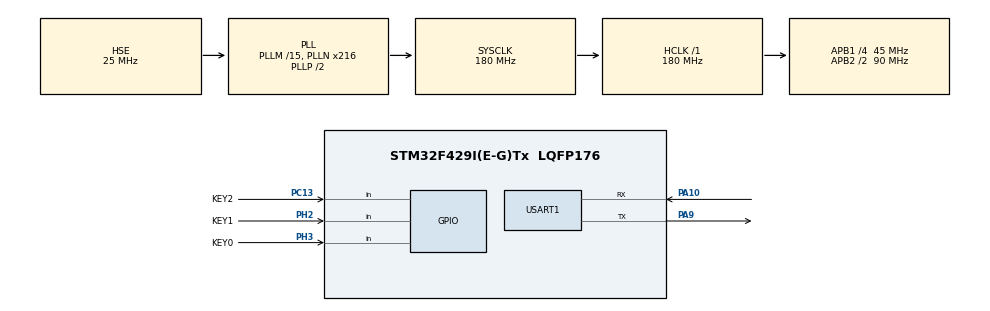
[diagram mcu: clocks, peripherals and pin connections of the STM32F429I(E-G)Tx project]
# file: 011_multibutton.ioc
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Mcu.Family=STM32F4
Mcu.Name=STM32F429I(E-G)Tx
Mcu.Package=LQFP176
NVIC.PriorityGroup=NVIC_PRIORITYGROUP_4
PA10.Mode=Asynchronous
PA10.Signal=USART1_RX
PA13.Mode=Serial_Wire
PA13.Signal=SYS_JTMS-SWDIO
PA14.Mode=Serial_Wire
PA14.Signal=SYS_JTCK-SWCLK
PA9.Mode=Asynchronous
PA9.Signal=USART1_TX
PC13.GPIO_Label=KEY2
PC13.Signal=GPIO_Input
PC14/OSC32_IN.Mode=LSE-External-Oscillator
PC14/OSC32_IN.Signal=RCC_OSC32_IN
PC15/OSC32_OUT.Mode=LSE-External-Oscillator
PC15/OSC32_OUT.Signal=RCC_OSC32_OUT
PH0/OSC_IN.Mode=HSE-External-Oscillator
PH0/OSC_IN.Signal=RCC_OSC_IN
PH1/OSC_OUT.Mode=HSE-External-Oscillator
PH1/OSC_OUT.Signal=RCC_OSC_OUT
PH2.GPIO_Label=KEY1
PH2.GPIO_PuPd=GPIO_PULLUP
PH2.Signal=GPIO_Input
PH3.GPIO_Label=KEY0
PH3.GPIO_PuPd=GPIO_PULLUP
PH3.Signal=GPIO_Input
ProjectManager.HeapSize=0x200
ProjectManager.StackSize=0x400
ProjectManager.TargetToolchain=MDK-ARM V5.27
RCC.48MHZClocksFreq_Value=90000000
RCC.AHBFreq_Value=180000000
RCC.APB1CLKDivider=RCC_HCLK_DIV4
RCC.APB1Freq_Value=45000000
RCC.APB1TimFreq_Value=90000000
RCC.APB2CLKDivider=RCC_HCLK_DIV2
RCC.APB2Freq_Value=90000000
RCC.APB2TimFreq_Value=180000000
RCC.CortexFreq_Value=180000000
RCC.HCLKFreq_Value=180000000
RCC.HSE_VALUE=25000000
RCC.HSI_VALUE=16000000
RCC.PLLM=15
RCC.PLLN=216
RCC.PLLSourceVirtual=RCC_PLLSOURCE_HSE
RCC.SYSCLKFreq_VALUE=180000000
RCC.SYSCLKSource=RCC_SYSCLKSOURCE_PLLCLK
RCC.VCOOutputFreq_Value=360000000
USART1.VirtualMode=VM_ASYNC
board=custom

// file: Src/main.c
/* USER CODE BEGIN Header */
/**
  ******************************************************************************
  * @file           : main.c
  * @brief          : Main program body
  ******************************************************************************
  * @attention
  *
  * <h2><center>&copy; Copyright (c) 2021 STMicroelectronics.
  * All rights reserved.</center></h2>
  *
  * This software component is licensed by ST under BSD 3-Clause license,
  * the "License"; You may not use this file except in compliance with the
  * License. You may obtain a copy of the License at:
  *                        opensource.org/licenses/BSD-3-Clause
  *
  ******************************************************************************
  */
/* USER CODE END Header */

#include "main.h"
#include "usart.h"
#include "gpio.h"

/* USER CODE BEGIN Includes */
#include "multi_button.h"
#include <stdio.h>		//要使用printf

/* USER CODE END Includes */

void SystemClock_Config(void);

/* USER CODE BEGIN 0 */

//申请一个按键结构
struct Button button1;

//按键状态读取接口
uint8_t read_button1_GPIO()
{
	return HAL_GPIO_ReadPin(KEY1_GPIO_Port, KEY1_Pin);
}

//按键回调函数
void button1_callback(void *button)
{
    uint32_t btn_event_val;

    btn_event_val = get_button_event((struct Button *)button);

    switch(btn_event_val)
    {
	    case PRESS_DOWN:
	        printf("---> key1 press down! <---\r\n");
	    	break;

	    case PRESS_UP:
	        printf("***> key1 press up! <***\r\n");
	    	break;

	    case PRESS_REPEAT:
	        printf("---> key1 press repeat! <---\r\n");
	    	break;

	    case SINGLE_CLICK:
	        printf("---> key1 single click! <---\r\n");
	    	break;

	    case DOUBLE_CLICK:
	        printf("***> key1 double click! <***\r\n");
	    	break;

	    case LONG_PRESS_START:
	        printf("---> key1 long press start! <---\r\n");
	   		break;

	    case LONG_PRESS_HOLD:
	        printf("***> key1 long press hold! <***\r\n");
	    	break;
	}
}

/* USER CODE END 0 */

int main(void)
{

  /* MCU Configuration--------------------------------------------------------*/

  /* Reset of all peripherals, Initializes the Flash interface and the Systick. */
  HAL_Init();

  /* Configure the system clock */
  SystemClock_Config();

  /* Initialize all configured peripherals */
  MX_GPIO_Init();
  MX_USART1_UART_Init();
  /* USER CODE BEGIN 2 */

	/* USER CODE BEGIN 2 */

	printf("MultiButton Test...\r\n");

	//初始化按键对象
	button_init(&button1, read_button1_GPIO, 0);

	//注册按钮事件回调函数

//	button_attach(&button1, PRESS_DOWN,       button1_callback);
//	button_attach(&button1, PRESS_UP,         button1_callback);
		button_attach(&button1, PRESS_REPEAT,     button1_callback);
	//button_attach(&button1, SINGLE_CLICK,     button1_callback);
	//button_attach(&button1, DOUBLE_CLICK,     button1_callback);
	//button_attach(&button1, LONG_RRESS_START, button1_callback);
	//button_attach(&button1, LONG_PRESS_HOLD,  button1_callback);

	//启动按键
	button_start(&button1);

  /* USER CODE END 2 */

  /* Infinite loop */
  /* USER CODE BEGIN WHILE */
  while (1)
  {
		//每隔5ms调用一次后台处理函数
		button_ticks();
		HAL_Delay(5);

    /* USER CODE END WHILE */

  }
}

void SystemClock_Config(void)
{
  RCC_OscInitTypeDef RCC_OscInitStruct = {0};
  RCC_ClkInitTypeDef RCC_ClkInitStruct = {0};

  /** Configure the main internal regulator output voltage
  */
  __HAL_RCC_PWR_CLK_ENABLE();
  __HAL_PWR_VOLTAGESCALING_CONFIG(PWR_REGULATOR_VOLTAGE_SCALE1);
  /** Initializes the CPU, AHB and APB busses clocks
  */
  RCC_OscInitStruct.OscillatorType = RCC_OSCILLATORTYPE_HSE;
  RCC_OscInitStruct.HSEState = RCC_HSE_ON;
  RCC_OscInitStruct.PLL.PLLState = RCC_PLL_ON;
  RCC_OscInitStruct.PLL.PLLSource = RCC_PLLSOURCE_HSE;
  RCC_OscInitStruct.PLL.PLLM = 15;
  RCC_OscInitStruct.PLL.PLLN = 216;
  RCC_OscInitStruct.PLL.PLLP = RCC_PLLP_DIV2;
  RCC_OscInitStruct.PLL.PLLQ = 4;
  if (HAL_RCC_OscConfig(&RCC_OscInitStruct) != HAL_OK)
  {
    Error_Handler();
  }
  /** Activate the Over-Drive mode
  */
  if (HAL_PWREx_EnableOverDrive() != HAL_OK)
  {
    Error_Handler();
  }
  /** Initializes the CPU, AHB and APB busses clocks
  */
  RCC_ClkInitStruct.ClockType = RCC_CLOCKTYPE_HCLK|RCC_CLOCKTYPE_SYSCLK
                              |RCC_CLOCKTYPE_PCLK1|RCC_CLOCKTYPE_PCLK2;
  RCC_ClkInitStruct.SYSCLKSource = RCC_SYSCLKSOURCE_PLLCLK;
  RCC_ClkInitStruct.AHBCLKDivider = RCC_SYSCLK_DIV1;
  RCC_ClkInitStruct.APB1CLKDivider = RCC_HCLK_DIV4;
  RCC_ClkInitStruct.APB2CLKDivider = RCC_HCLK_DIV2;

  if (HAL_RCC_ClockConfig(&RCC_ClkInitStruct, FLASH_LATENCY_5) != HAL_OK)
  {
    Error_Handler();
  }
}

void Error_Handler(void)
{
}

/************************ (C) COPYRIGHT STMicroelectronics *****END OF FILE****/
